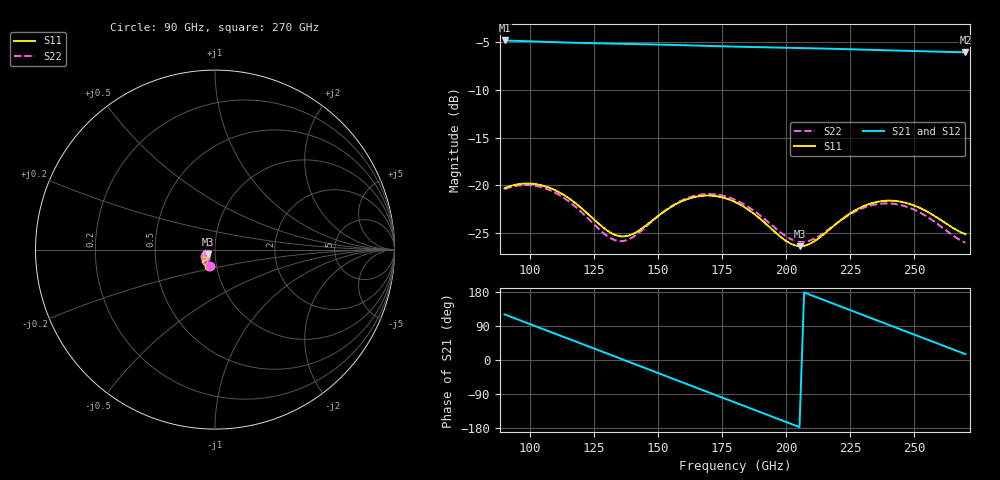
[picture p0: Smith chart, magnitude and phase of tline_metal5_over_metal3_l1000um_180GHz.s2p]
#  GHZ S DB R 50
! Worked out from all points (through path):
!   101 points, 90 GHz to 270 GHz, reference 50 ohm
!   highest |S21| = -4.84 dB at 90 GHz (marker M1); lowest = -6.1 dB at 270 GHz (marker M2)
!   group delay of S21, straight-line fit = 7.18 ps
!   lowest |S11| = -26.4 dB at 205.2 GHz (marker M3), VSWR 1.10, Z = 46.1 - j2.44 ohm
!   |S11| at or under -10 dB: start of sweep to end of sweep
!   |S22| runs from -26.0 to -20.0 dB; largest |S21 - S12| = 9.7e-14
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90  -20.28 -108.5  -4.84 120.3  -4.84 120.3  -20.39 -108.7
97.2  -19.82 -118.8  -4.91 101.7  -4.91 101.7  -19.97 -119.2
104.4  -19.98 -129.7  -4.97 83.1  -4.97 83.1  -20.19 -130.1
111.6  -20.76 -139.4  -5.03 64.6  -5.03 64.6  -21.04 -139.9
120.6  -22.51 -147.1  -5.10 41.5  -5.10 41.5  -22.94 -147.2
127.8  -24.25 -146.1  -5.14 22.9  -5.14 22.9  -24.80 -145.1
135  -25.32 -136.9  -5.18 4.3  -5.18 4.3  -25.84 -134.0
142.2  -24.77 -126.5  -5.22 -14.3  -5.22 -14.3  -25.02 -122.6
151.2  -22.95 -123.8  -5.28 -37.6  -5.28 -37.6  -22.94 -120.5
165.6  -21.14 -136.8  -5.38 -74.9  -5.38 -74.9  -21.01 -134.6
172.8  -21.13 -145.8  -5.43 -93.5  -5.43 -93.5  -20.96 -143.9
180  -21.73 -154.2  -5.48 -112.0  -5.48 -112.0  -21.50 -152.5
192.6  -24.15 -161.3  -5.56 -144.5  -5.56 -144.5  -23.76 -160.5
205.2  -26.36 -146.7  -5.63 -177.1  -5.63 -177.1  -25.90 -148.7
210.6  -25.91 -137.3  -5.66 168.9  -5.66 168.9  -25.62 -140.4
217.8  -24.40 -131.4  -5.71 150.3  -5.71 150.3  -24.35 -134.8
226.8  -22.63 -134.2  -5.77 127.0  -5.77 127.0  -22.76 -137.4
234  -21.82 -140.7  -5.83 108.4  -5.83 108.4  -22.04 -143.7
241.2  -21.60 -148.4  -5.88 89.8  -5.88 89.8  -21.90 -151.2
253.8  -22.56 -159.6  -5.97 57.3  -5.97 57.3  -23.07 -162.4
262.8  -24.04 -161.4  -6.03 34.1  -6.03 34.1  -24.78 -163.4
270  -25.11 -156.2  -6.08 15.5  -6.08 15.5  -25.99 -156.5
